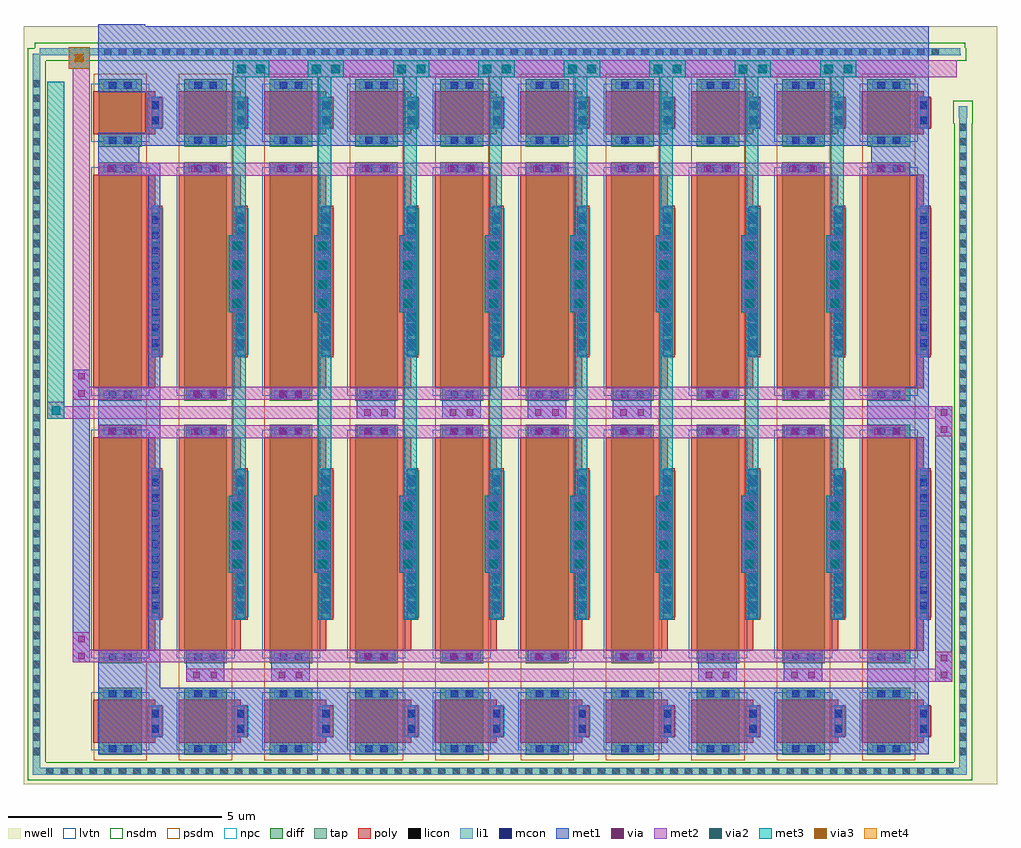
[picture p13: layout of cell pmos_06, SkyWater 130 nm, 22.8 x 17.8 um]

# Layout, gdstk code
from math import pi, radians
import gdstk
lib = gdstk.Library(unit=1e-6, precision=1e-09)
def R(c, l, rs):  # rectangles x0, y0, x1, y1
    for r in rs: c.add(gdstk.rectangle(r[:2], r[2:], *l))
def A(c, l, x, y, w, h, nx, ny, dx, dy):  # array of equal rectangles
    R(c, l, [(x+i*dx, y+j*dy, x+i*dx+w, y+j*dy+h) for i in range(nx) for j in range(ny)])
nwell = (64, 20)
diff = (65, 20)
tap = (65, 44)
poly = (66, 20)
licon = (66, 44)
li1 = (67, 20)
mcon = (67, 44)
met1 = (68, 20)
via = (68, 44)
met2 = (69, 20)
via2 = (69, 44)
met3 = (70, 20)
via3 = (70, 44)
met4 = (71, 20)
nsdm = (93, 44)
psdm = (94, 20)
npc = (95, 20)
lvtn = (125, 44)

sky130_fd_pr__pfet_01v8_ = lib.new_cell('sky130_fd_pr__pfet_01v8_lvt_KVZWZ9')
R(sky130_fd_pr__pfet_01v8_, nwell, [(-0.97,-0.99,0.97,0.82)])
R(sky130_fd_pr__pfet_01v8_, diff, [(-0.79,-0.68,0.79,0.32)])
R(sky130_fd_pr__pfet_01v8_, poly, [(-0.5,-0.81,0.5,0.64), (-0.375,0.64,0.375,0.805)])
R(sky130_fd_pr__pfet_01v8_, licon, [(-0.73,-0.435,-0.56,-0.265), (0.56,-0.435,0.73,-0.265), (-0.73,-0.095,-0.56,0.075), (0.56,-0.095,0.73,0.075), (-0.255,0.555,-0.085,0.725), (0.085,0.555,0.255,0.725)])
R(sky130_fd_pr__pfet_01v8_, li1, [(-0.73,-0.57,-0.56,0.21), (0.56,-0.57,0.73,0.21), (-0.375,0.555,0.375,0.725)])
R(sky130_fd_pr__pfet_01v8_, mcon, [(-0.73,-0.445,-0.56,-0.275), (0.56,-0.445,0.73,-0.275), (-0.73,-0.085,-0.56,0.085), (0.56,-0.085,0.73,0.085), (-0.265,0.555,-0.095,0.725), (0.095,0.555,0.265,0.725)])
R(sky130_fd_pr__pfet_01v8_, met1, [(-0.76,-0.55,-0.53,0.19), (0.53,-0.55,0.76,0.19), (-0.355,0.525,0.355,0.755)])
R(sky130_fd_pr__pfet_01v8_, psdm, [(-0.915,-0.805,0.915,0.445)])
R(sky130_fd_pr__pfet_01v8_, npc, [(-0.355,0.455,0.355,0.825)])
R(sky130_fd_pr__pfet_01v8_, lvtn, [(-0.68,-0.86,0.68,0.5)])

c_sky130_fd_pr__pfet_01v8_ = lib.new_cell('sky130_fd_pr__pfet_01v8_lvt_KVZN99')
R(c_sky130_fd_pr__pfet_01v8_, nwell, [(-2.97,-0.99,2.97,0.82)])
R(c_sky130_fd_pr__pfet_01v8_, diff, [(-2.79,-0.68,2.79,0.32)])
R(c_sky130_fd_pr__pfet_01v8_, poly, [(-2.5,-0.81,2.5,0.64), (-1.775,0.64,1.775,0.805)])
A(c_sky130_fd_pr__pfet_01v8_, licon, -1.615, 0.555, 0.17, 0.17, 10, 1, 0.34, 0)
R(c_sky130_fd_pr__pfet_01v8_, licon, [(-2.73,-0.435,-2.56,-0.265), (2.56,-0.435,2.73,-0.265), (-2.73,-0.095,-2.56,0.075), (2.56,-0.095,2.73,0.075)])
R(c_sky130_fd_pr__pfet_01v8_, li1, [(-2.73,-0.57,-2.56,0.21), (2.56,-0.57,2.73,0.21), (-1.775,0.555,1.775,0.725)])
A(c_sky130_fd_pr__pfet_01v8_, mcon, -1.525, 0.555, 0.17, 0.17, 9, 1, 0.36, 0)
R(c_sky130_fd_pr__pfet_01v8_, mcon, [(-2.73,-0.445,-2.56,-0.275), (2.56,-0.445,2.73,-0.275), (-2.73,-0.085,-2.56,0.085), (2.56,-0.085,2.73,0.085)])
R(c_sky130_fd_pr__pfet_01v8_, met1, [(-2.76,-0.55,-2.53,0.19), (2.53,-0.55,2.76,0.19), (-1.755,0.525,1.755,0.755)])
R(c_sky130_fd_pr__pfet_01v8_, psdm, [(-2.915,-0.805,2.915,0.445)])
R(c_sky130_fd_pr__pfet_01v8_, npc, [(-1.715,0.455,1.715,0.825)])
R(c_sky130_fd_pr__pfet_01v8_, lvtn, [(-2.68,-0.86,2.68,0.5)])

pmos_06 = lib.new_cell('pmos_06')
R(pmos_06, nwell, [(-1.45,-2.65,21.35,11.6), (-1.45,11.6,18.4,11.9), (19.3,11.6,21.35,11.9), (-1.45,11.9,21.35,15.1), (0.3,15.1,1.4,15.15)])
R(pmos_06, tap, [(-1.235,-2.435,20.635,-2.265), (-1.235,-2.265,-1.065,14.415), (20.465,-2.265,20.635,12.95), (20.45,12.95,20.65,13.225), (-1.235,14.415,20.5,14.455), (-1.07,14.455,20.48,14.585)])
A(pmos_06, licon, -0.925, -2.435, 0.17, 0.17, 63, 1, 0.34, 0)
A(pmos_06, licon, -1.235, -1.975, 0.17, 0.17, 1, 47, 0, 0.34)
A(pmos_06, licon, 20.465, -1.975, 0.17, 0.17, 1, 44, 0, 0.34)
A(pmos_06, licon, 0.435, 14.415, 0.17, 0.17, 58, 1, 0.34, 0)
R(pmos_06, li1, [(-1.235,-2.435,20.635,-2.265), (-1.235,-2.265,-1.065,14.415), (20.465,-2.265,20.635,12.95), (20.45,12.95,20.65,13.225), (-1.235,14.415,20.5,14.455), (-1.07,14.455,20.48,14.585)])
A(pmos_06, met1, 6.35, 0.2, 0.9, 0.3, 4, 1, 2, 0)
A(pmos_06, met1, 3.35, 2.3, 0.4, 1.8, 8, 2, 2, 6.1)
A(pmos_06, met1, 2.35, 5.45, 0.9, 0.3, 8, 1, 2, 0)
A(pmos_06, met1, 6.35, 5.9, 0.9, 0.75, 4, 1, 2, 0)
A(pmos_06, met1, 2.3, 11.6, 1, 0.3, 8, 1, 2, 0)
R(pmos_06, met1, [(0.3,-1.95,19.75,-0.4), (0.3,-0.4,1.75,0.5), (18.3,-0.4,19.75,0.5), (2.35,-0.25,3.25,0.5), (4.35,-0.25,5.25,0.5), (14.35,-0.25,15.25,0.5), (16.35,-0.25,17.25,0.5), (19.9,-0.25,20.3,6.2), (-0.3,0.2,0.1,7.05), (1.45,0.5,1.75,5.45), (19.45,0.5,19.75,5.45), (0.3,5.45,1.75,6.65), (18.3,5.45,19.75,6.65), (2.35,6.35,3.25,6.65), (4.35,6.35,5.25,6.65), (14.35,6.35,15.25,6.65), (16.35,6.35,17.25,6.65), (1.45,6.65,1.75,11.6), (19.45,6.65,19.75,11.6), (0.3,11.6,1.75,11.9), (18.3,11.6,19.75,11.9), (0.3,11.9,1.25,12.3), (18.4,11.9,19.75,12.3), (0.3,12.3,19.75,12.6), (1.4,12.6,19.75,13.55), (0.3,13.55,19.75,15.1), (0.3,15.1,1.4,15.15)])
A(pmos_06, via, 3.475, 2.425, 0.15, 0.15, 8, 4, 2, 0.45)
A(pmos_06, via, 3.475, 8.525, 0.15, 0.15, 8, 4, 2, 0.45)
R(pmos_06, via, [(2.525,-0.175,2.675,-0.025), (2.925,-0.175,3.075,-0.025), (4.525,-0.175,4.675,-0.025), (4.925,-0.175,5.075,-0.025), (14.525,-0.175,14.675,-0.025), (14.925,-0.175,15.075,-0.025), (16.525,-0.175,16.675,-0.025), (16.925,-0.175,17.075,-0.025), (20.025,-0.175,20.175,-0.025), (20.025,0.225,20.175,0.375), (-0.175,0.275,-0.025,0.425), (6.525,0.275,6.675,0.425), (6.925,0.275,7.075,0.425), (8.525,0.275,8.675,0.425), (8.925,0.275,9.075,0.425), (10.525,0.275,10.675,0.425), (10.925,0.275,11.075,0.425), (12.525,0.275,12.675,0.425), (12.925,0.275,13.075,0.425), (-0.175,0.675,-0.025,0.825), (0.525,5.525,0.675,5.675), (1.025,5.525,1.175,5.675), (2.475,5.525,2.625,5.675), (2.925,5.525,3.075,5.675), (4.525,5.525,4.675,5.675), (4.925,5.525,5.075,5.675), (6.525,5.525,6.675,5.675), (6.925,5.525,7.075,5.675), (8.525,5.525,8.675,5.675), (8.925,5.525,9.075,5.675), (10.525,5.525,10.675,5.675), (10.925,5.525,11.075,5.675), (12.525,5.525,12.675,5.675), (12.925,5.525,13.075,5.675), (14.525,5.525,14.675,5.675), (14.925,5.525,15.075,5.675), (16.525,5.525,16.675,5.675), (16.925,5.525,17.075,5.675), (18.475,5.525,18.625,5.675), (18.925,5.525,19.075,5.675), (20.025,5.575,20.175,5.725), (6.525,5.975,6.675,6.125), (6.925,5.975,7.075,6.125), (8.525,5.975,8.675,6.125), (8.925,5.975,9.075,6.125), (10.525,5.975,10.675,6.125), (10.925,5.975,11.075,6.125), (12.525,5.975,12.675,6.125), (12.925,5.975,13.075,6.125), (20.025,5.975,20.175,6.125), (-0.175,6.425,-0.025,6.575), (2.525,6.425,2.675,6.575), (2.925,6.425,3.075,6.575), (4.525,6.425,4.675,6.575), (4.925,6.425,5.075,6.575), (14.525,6.425,14.675,6.575), (14.925,6.425,15.075,6.575), (16.525,6.425,16.675,6.575), (16.925,6.425,17.075,6.575), (-0.175,6.825,-0.025,6.975), (0.5,11.675,0.65,11.825), (2.475,11.675,2.625,11.825), (2.975,11.675,3.125,11.825), (4.475,11.675,4.625,11.825), (4.975,11.675,5.125,11.825), (6.475,11.675,6.625,11.825), (6.975,11.675,7.125,11.825), (8.475,11.675,8.625,11.825), (8.975,11.675,9.125,11.825), (10.475,11.675,10.625,11.825), (10.975,11.675,11.125,11.825), (12.475,11.675,12.625,11.825), (12.975,11.675,13.125,11.825), (14.475,11.675,14.625,11.825), (14.975,11.675,15.125,11.825), (16.475,11.675,16.625,11.825), (16.975,11.675,17.125,11.825), (18.525,11.675,18.675,11.825), (19.025,11.675,19.175,11.825)])
A(pmos_06, met2, 3.35, 2.3, 0.4, 1.8, 8, 2, 2, 6.1)
R(pmos_06, met2, [(2.35,-0.25,20.3,0.05), (19.9,0.05,20.3,0.45), (-0.3,0.2,19.2,0.5), (-0.3,0.5,0.1,0.9), (0.3,5.45,19.2,5.75), (19.9,5.5,20.3,5.9), (-0.9,5.9,20.3,6.2), (-0.9,6.2,-0.5,6.3), (-0.3,6.35,19.2,6.65), (-0.3,6.65,0.1,14.1), (0.3,11.6,19.3,11.9), (3.45,13.9,20.4,14.3), (-0.4,14.1,0.1,14.6)])
A(pmos_06, via2, 3.45, 2.4, 0.2, 0.2, 8, 4, 2, 0.45)
A(pmos_06, via2, 3.45, 8.5, 0.2, 0.2, 8, 4, 2, 0.45)
R(pmos_06, via2, [(-0.8,6,-0.6,6.2), (3.55,14,3.75,14.2), (4,14,4.2,14.2), (5.3,14,5.5,14.2), (5.75,14,5.95,14.2), (7.3,14,7.5,14.2), (7.75,14,7.95,14.2), (9.3,14,9.5,14.2), (9.75,14,9.95,14.2), (11.3,14,11.5,14.2), (11.75,14,11.95,14.2), (13.3,14,13.5,14.2), (13.75,14,13.95,14.2), (15.3,14,15.5,14.2), (15.75,14,15.95,14.2), (17.3,14,17.5,14.2), (17.75,14,17.95,14.2), (-0.25,14.25,-0.05,14.45)])
A(pmos_06, met3, 3.45, 1.2, 0.3, 1.1, 8, 1, 2, 0)
A(pmos_06, met3, 3.35, 2.3, 0.4, 1.8, 8, 2, 2, 6.1)
A(pmos_06, met3, 3.45, 4.1, 0.3, 4.3, 8, 1, 2, 0)
A(pmos_06, met3, 3.45, 10.2, 0.3, 3.7, 8, 1, 2, 0)
A(pmos_06, met3, 5.2, 13.9, 0.85, 0.4, 7, 1, 2, 0)
R(pmos_06, met3, [(-0.9,5.9,-0.5,13.8), (3.45,13.9,4.3,14.3), (-0.4,14.1,0.1,14.6)])
R(pmos_06, via3, [(-0.25,14.25,-0.05,14.45)])
R(pmos_06, met4, [(-0.4,14.1,0.1,14.6)])
R(pmos_06, nsdm, [(-1.36,-2.56,20.76,-2.14), (-1.36,-2.14,-0.94,14.29), (20.34,-2.14,20.76,12.825), (20.325,12.825,20.775,13.35), (-1.36,14.29,20.625,14.58), (-1.195,14.58,20.605,14.71)])
A(pmos_06, psdm, 0.185, -0.265, 1.25, 0.32, 10, 2, 2, 6.15)
A(pmos_06, psdm, 0.185, 12.035, 1.25, 0.12, 10, 1, 2, 0)
pmos_06.add(gdstk.Reference(sky130_fd_pr__pfet_01v8_, (16.99,13.07), rotation=pi/2, x_reflection=True))
pmos_06.add(gdstk.Reference(sky130_fd_pr__pfet_01v8_, (12.99,13.07), rotation=pi/2, x_reflection=True))
pmos_06.add(gdstk.Reference(sky130_fd_pr__pfet_01v8_, (8.99,13.07), rotation=pi/2, x_reflection=True))
pmos_06.add(gdstk.Reference(sky130_fd_pr__pfet_01v8_, (6.99,13.07), rotation=pi/2, x_reflection=True))
pmos_06.add(gdstk.Reference(sky130_fd_pr__pfet_01v8_, (4.99,13.07), rotation=pi/2, x_reflection=True))
pmos_06.add(gdstk.Reference(sky130_fd_pr__pfet_01v8_, (2.99,13.07), rotation=pi/2, x_reflection=True))
pmos_06.add(gdstk.Reference(sky130_fd_pr__pfet_01v8_, (0.99,13.07), rotation=pi/2, x_reflection=True))
pmos_06.add(gdstk.Reference(c_sky130_fd_pr__pfet_01v8_, (18.99,9.12), rotation=pi/2, x_reflection=True))
pmos_06.add(gdstk.Reference(sky130_fd_pr__pfet_01v8_, (10.99,-1.18), rotation=pi/2, x_reflection=True))
pmos_06.add(gdstk.Reference(c_sky130_fd_pr__pfet_01v8_, (10.99,2.97), rotation=pi/2, x_reflection=True))
pmos_06.add(gdstk.Reference(c_sky130_fd_pr__pfet_01v8_, (12.99,2.97), rotation=pi/2, x_reflection=True))
pmos_06.add(gdstk.Reference(sky130_fd_pr__pfet_01v8_, (0.99,-1.18), rotation=pi/2, x_reflection=True))
pmos_06.add(gdstk.Reference(c_sky130_fd_pr__pfet_01v8_, (8.99,2.97), rotation=pi/2, x_reflection=True))
pmos_06.add(gdstk.Reference(sky130_fd_pr__pfet_01v8_, (8.99,-1.18), rotation=pi/2, x_reflection=True))
pmos_06.add(gdstk.Reference(c_sky130_fd_pr__pfet_01v8_, (6.99,2.97), rotation=pi/2, x_reflection=True))
pmos_06.add(gdstk.Reference(c_sky130_fd_pr__pfet_01v8_, (16.99,2.97), rotation=pi/2, x_reflection=True))
pmos_06.add(gdstk.Reference(sky130_fd_pr__pfet_01v8_, (4.99,-1.18), rotation=pi/2, x_reflection=True))
pmos_06.add(gdstk.Reference(sky130_fd_pr__pfet_01v8_, (2.99,-1.18), rotation=pi/2, x_reflection=True))
pmos_06.add(gdstk.Reference(c_sky130_fd_pr__pfet_01v8_, (14.99,2.97), rotation=pi/2, x_reflection=True))
pmos_06.add(gdstk.Reference(sky130_fd_pr__pfet_01v8_, (18.99,13.07), rotation=pi/2, x_reflection=True))
pmos_06.add(gdstk.Reference(c_sky130_fd_pr__pfet_01v8_, (4.99,2.97), rotation=pi/2, x_reflection=True))
pmos_06.add(gdstk.Reference(sky130_fd_pr__pfet_01v8_, (14.99,13.07), rotation=pi/2, x_reflection=True))
pmos_06.add(gdstk.Reference(c_sky130_fd_pr__pfet_01v8_, (2.99,2.97), rotation=pi/2, x_reflection=True))
pmos_06.add(gdstk.Reference(sky130_fd_pr__pfet_01v8_, (10.99,13.07), rotation=pi/2, x_reflection=True))
pmos_06.add(gdstk.Reference(c_sky130_fd_pr__pfet_01v8_, (0.99,2.97), rotation=pi/2, x_reflection=True))
pmos_06.add(gdstk.Reference(sky130_fd_pr__pfet_01v8_, (12.99,-1.18), rotation=pi/2, x_reflection=True))
pmos_06.add(gdstk.Reference(c_sky130_fd_pr__pfet_01v8_, (2.99,9.12), rotation=pi/2, x_reflection=True))
pmos_06.add(gdstk.Reference(c_sky130_fd_pr__pfet_01v8_, (6.99,9.12), rotation=pi/2, x_reflection=True))
pmos_06.add(gdstk.Reference(sky130_fd_pr__pfet_01v8_, (14.99,-1.18), rotation=pi/2, x_reflection=True))
pmos_06.add(gdstk.Reference(c_sky130_fd_pr__pfet_01v8_, (12.99,9.12), rotation=pi/2, x_reflection=True))
pmos_06.add(gdstk.Reference(sky130_fd_pr__pfet_01v8_, (6.99,-1.18), rotation=pi/2, x_reflection=True))
pmos_06.add(gdstk.Reference(c_sky130_fd_pr__pfet_01v8_, (18.99,2.97), rotation=pi/2, x_reflection=True))
pmos_06.add(gdstk.Reference(sky130_fd_pr__pfet_01v8_, (18.99,-1.18), rotation=pi/2, x_reflection=True))
pmos_06.add(gdstk.Reference(sky130_fd_pr__pfet_01v8_, (16.99,-1.18), rotation=pi/2, x_reflection=True))
pmos_06.add(gdstk.Reference(c_sky130_fd_pr__pfet_01v8_, (16.99,9.12), rotation=pi/2, x_reflection=True))
pmos_06.add(gdstk.Reference(c_sky130_fd_pr__pfet_01v8_, (0.99,9.12), rotation=pi/2, x_reflection=True))
pmos_06.add(gdstk.Reference(c_sky130_fd_pr__pfet_01v8_, (4.99,9.12), rotation=pi/2, x_reflection=True))
pmos_06.add(gdstk.Reference(c_sky130_fd_pr__pfet_01v8_, (8.99,9.12), rotation=pi/2, x_reflection=True))
pmos_06.add(gdstk.Reference(c_sky130_fd_pr__pfet_01v8_, (10.99,9.12), rotation=pi/2, x_reflection=True))
pmos_06.add(gdstk.Reference(c_sky130_fd_pr__pfet_01v8_, (14.99,9.12), rotation=pi/2, x_reflection=True))

lib.write_gds('pmos_06.gds')
